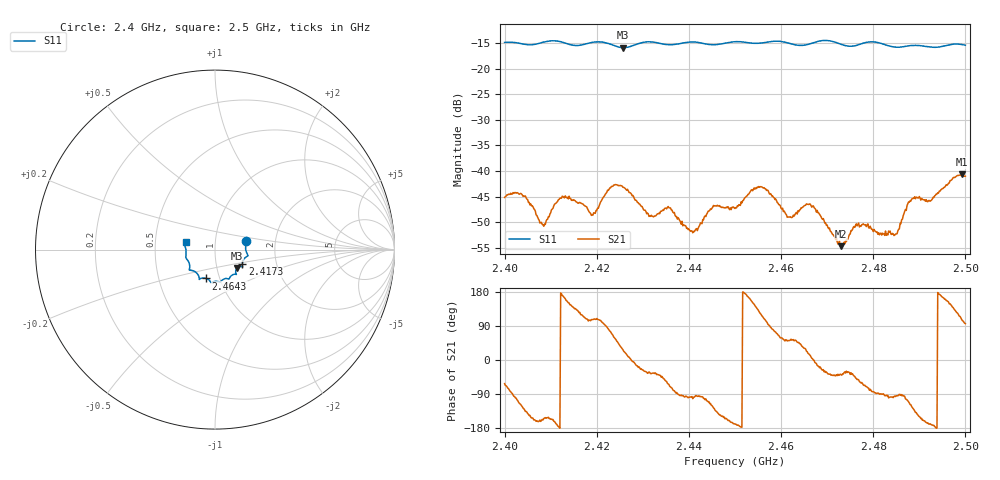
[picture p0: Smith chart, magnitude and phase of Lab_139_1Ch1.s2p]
# Hz S RI R 50
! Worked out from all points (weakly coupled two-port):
!   601 points, 2.4 GHz to 2.5 GHz, reference 50 ohm
!   highest |S21| = -40.66 dB at 2.4993 GHz (marker M1); lowest = -54.7 dB at 2.473 GHz (marker M2)
!   lowest |S11| = -15.9 dB at 2.4257 GHz (marker M3), VSWR 1.38, Z = 62.5 - j13.1 ohm
!   |S11| at or under -10 dB: start of sweep to end of sweep
!   S12 and S22 are empty: the file has one direction only
!   S11 on the Smith chart (normalised r, x): 2.4 GHz: 1.41, +0.14; 2.4173 GHz: 1.34, -0.23; 2.4643 GHz: 0.86, -0.28; 2.5 GHz: 0.72, +0.06
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2.4e9  0.1732 0.0497  0.00256 -0.0049  0 0  0 0
2.404e9  0.1719 0.0254  -0.0034 -0.00454  0 0  0 0
2.408333e9  0.1795 -0.0233  -0.00278 -0.00112  0 0  0 0
2.412167e9  0.1789 -0.0376  -0.00543 0.000297  0 0  0 0
2.416667e9  0.1529 -0.0745  -0.00239 0.00422  0 0  0 0
2.417333e9  0.1522 -0.0818  -0.00179 0.00424  0 0  0 0
2.419167e9  0.1536 -0.0954  -0.00106 0.00356  0 0  0 0
2.425667e9  0.1229 -0.1023  0.00616 0.00321  0 0  0 0
2.433333e9  0.113 -0.137  0.00297 -0.00241  0 0  0 0
2.440833e9  0.0783 -0.1647  -0.000519 -0.00245  0 0  0 0
2.4455e9  0.0518 -0.1629  -0.00282 -0.00358  0 0  0 0
2.45e9  0.0293 -0.1809  -0.00424 -0.000812  0 0  0 0
2.455333e9  -0.000924 -0.177  -0.004 0.00568  0 0  0 0
2.461667e9  -0.0281 -0.1747  0.00224 0.00276  0 0  0 0
2.464333e9  -0.05 -0.1608  0.00335 0.00281  0 0  0 0
2.466667e9  -0.0759 -0.1596  0.00442 0.000362  0 0  0 0
2.473e9  -0.0909 -0.1469  0.00144 -0.00116  0 0  0 0
2.476333e9  -0.1198 -0.1183  0.002 -0.0023  0 0  0 0
2.483333e9  -0.1406 -0.0899  -0.000447 -0.00256  0 0  0 0
2.4885e9  -0.1613 -0.0484  -0.00314 -0.00437  0 0  0 0
2.499333e9  -0.1672 0.0386  -0.00228 0.00898  0 0  0 0
2.5e9  -0.1637 0.0426  -0.000918 0.00886  0 0  0 0
